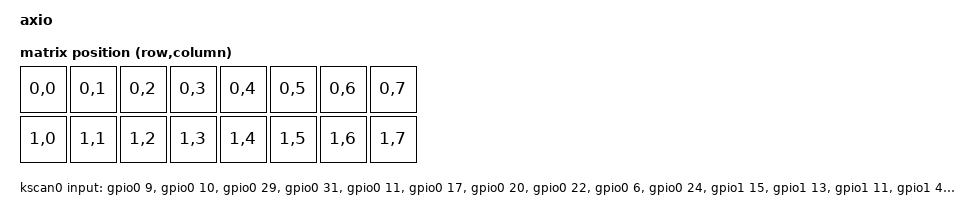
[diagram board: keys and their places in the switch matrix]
/*
 * Copyright (c) 2017 Linaro Limited
 *
 * SPDX-License-Identifier: Apache-2.0
 */

/dts-v1/;


#include <nordic/nrf52840_qiaa.dtsi>
#include <zephyr/dt-bindings/input/input-event-codes.h>
#include <dt-bindings/zmk/matrix_transform.h>

/ {
	model = "axio";
	compatible = "nordic,nrf52840";
    chosen {
        zephyr,code-partition = &code_partition;
        zephyr,sram = &sram0;
        zephyr,flash = &flash0;
        zmk,matrix-transform = &default_transform;
        zmk,kscan = &kscan0;
        zmk,battery = &vbatt;

    };
/*    
    vbatt: vbatt {
        compatible = "zmk,battery-nrf-vddh";
    };
*/
    
    vbatt: vbatt {
        compatible = "zmk,battery-voltage-divider";
        io-channels = <&adc 0>;
        output-ohms = <470000>;
        full-ohms = <(470000 + 470000)>;
    };

    default_transform: keymap_transform_0 {
        compatible = "zmk,matrix-transform";
        columns = <8>;
        rows = <2>;
        map = <
RC(0,0) RC(0,1) RC(0,2) RC(0,3) RC(0,4) RC(0,5) RC(0,6) RC(0,7)
RC(1,0) RC(1,1) RC(1,2) RC(1,3) RC(1,4) RC(1,5) RC(1,6) RC(1,7)
        >;
    };

        kscan0: kscan {
        compatible = "zmk,kscan-gpio-direct";
        wakeup-source;
        input-gpios
            = <&gpio0 9 (GPIO_ACTIVE_LOW | GPIO_PULL_UP)>
            , <&gpio0 10  (GPIO_ACTIVE_LOW | GPIO_PULL_UP)>
            , <&gpio0 29  (GPIO_ACTIVE_LOW | GPIO_PULL_UP)>
            , <&gpio0 31 (GPIO_ACTIVE_LOW | GPIO_PULL_UP)>
            , <&gpio0 11  (GPIO_ACTIVE_LOW | GPIO_PULL_UP)>
            , <&gpio0 17  (GPIO_ACTIVE_LOW | GPIO_PULL_UP)>
            , <&gpio0 20  (GPIO_ACTIVE_LOW | GPIO_PULL_UP)>
            , <&gpio0 22  (GPIO_ACTIVE_LOW | GPIO_PULL_UP)>
            , <&gpio0 6  (GPIO_ACTIVE_LOW | GPIO_PULL_UP)>
            , <&gpio0 24  (GPIO_ACTIVE_LOW | GPIO_PULL_UP)>
            , <&gpio1 15 (GPIO_ACTIVE_LOW | GPIO_PULL_UP)>
            , <&gpio1 13  (GPIO_ACTIVE_LOW | GPIO_PULL_UP)>
            , <&gpio1 11  (GPIO_ACTIVE_LOW | GPIO_PULL_UP)>
            , <&gpio1 4  (GPIO_ACTIVE_LOW | GPIO_PULL_UP)>
            , <&gpio1 6  (GPIO_ACTIVE_LOW | GPIO_PULL_UP)>
            , <&gpio1 0  (GPIO_ACTIVE_LOW | GPIO_PULL_UP)>
            ;
    };
};

&adc {
    status = "okay";
};

&gpiote {
    status = "okay";
};

&gpio0 {
    status = "okay";
};

&gpio1 {
    status = "okay";
};

zephyr_udc0: &usbd {
    status = "okay";
};

&flash0 {
    /*
     * For more information, see:
     * http://docs.zephyrproject.org/latest/devices/dts/flash_partitions.html
     */
    partitions {
        compatible = "fixed-partitions";
        #address-cells = <1>;
        #size-cells = <1>;

        sd_partition: partition@0 {
            reg = <0x00000000 0x00001000>;
        };

        code_partition: partition@1000 {
            reg = <0x00001000 0x000d3000>;
        };

        /*
         * The flash starting at 0x000d4000 and ending at
         * 0x000f3fff is reserved for use by the application.
         */

        /*
         * Storage partition will be used by FCB/LittleFS/NVS
         * if enabled.
         */
        storage_partition: partition@d4000 {
            reg = <0x000d4000 0x00020000>;
        };

        boot_partition: partition@f4000 {
            reg = <0x000f4000 0x0000c000>;
        };
    };
};
